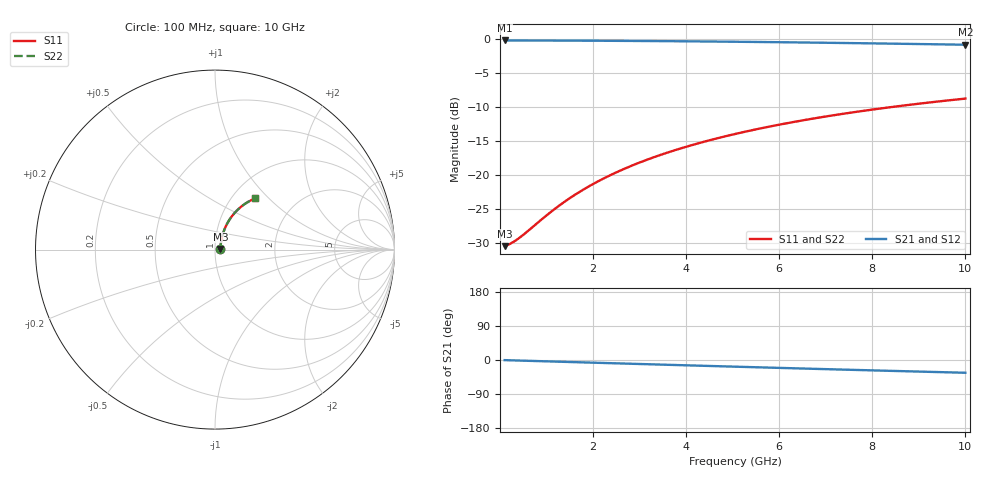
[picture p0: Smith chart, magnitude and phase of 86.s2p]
# Hz S RI R 50.00
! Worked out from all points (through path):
!   100 points, 100 MHz to 10 GHz, reference 50 ohm
!   highest |S21| = -0.26 dB at 100 MHz (marker M1); lowest = -0.9 dB at 10 GHz (marker M2)
!   group delay of S21, straight-line fit = 9.38 ps
!   lowest |S11| = -30.4 dB at 100 MHz (marker M3), VSWR 1.06, Z = 53.1 + j0.41 ohm
!   |S11| at or under -10 dB: start of sweep to 8.434 GHz
!   |S22| runs from -30.4 to -8.8 dB; largest |S21 - S12| = 0
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1e8  0.03 0.00386  0.97 -0.00598  0.97 -0.00598  0.03 0.00386
2e8  0.0302 0.00771  0.9697 -0.012  0.9697 -0.012  0.0302 0.00771
3e8  0.0305 0.0116  0.9695 -0.0179  0.9695 -0.0179  0.0305 0.0116
4e8  0.0308 0.0154  0.9692 -0.0239  0.9692 -0.0239  0.0308 0.0154
6e8  0.0314 0.0231  0.9685 -0.0358  0.9685 -0.0358  0.0314 0.0231
1e9  0.0332 0.0384  0.9665 -0.0596  0.9665 -0.0596  0.0332 0.0384
1.2e9  0.0344 0.046  0.9653 -0.0715  0.9653 -0.0715  0.0344 0.046
1.5e9  0.0364 0.0573  0.963 -0.0892  0.963 -0.0892  0.0364 0.0573
1.8e9  0.0389 0.0685  0.9603 -0.1068  0.9603 -0.1068  0.0389 0.0685
2.1e9  0.0417 0.0796  0.9572 -0.1243  0.9572 -0.1243  0.0417 0.0796
2.5e9  0.0461 0.0942  0.9524 -0.1474  0.9524 -0.1474  0.0461 0.0942
2.9e9  0.0512 0.1085  0.9468 -0.1703  0.9468 -0.1703  0.0512 0.1085
3.4e9  0.0585 0.126  0.9388 -0.1984  0.9388 -0.1984  0.0585 0.126
3.8e9  0.0651 0.1396  0.9316 -0.2205  0.9316 -0.2205  0.0651 0.1396
4.2e9  0.0722 0.1527  0.9236 -0.2422  0.9236 -0.2422  0.0722 0.1527
4.6e9  0.08 0.1655  0.9151 -0.2635  0.9151 -0.2635  0.08 0.1655
5.1e9  0.0904 0.1808  0.9035 -0.2895  0.9035 -0.2895  0.0904 0.1808
5.9e9  0.1088 0.2036  0.883 -0.3296  0.883 -0.3296  0.1088 0.2036
6.7e9  0.129 0.2244  0.8605 -0.3676  0.8605 -0.3676  0.129 0.2244
7.5e9  0.1507 0.243  0.8361 -0.4034  0.8361 -0.4034  0.1507 0.243
8.4e9  0.1766 0.2611  0.8068 -0.4409  0.8068 -0.4409  0.1766 0.2611
1e10  0.2252 0.2858  0.751 -0.5005  0.751 -0.5005  0.2252 0.2858
